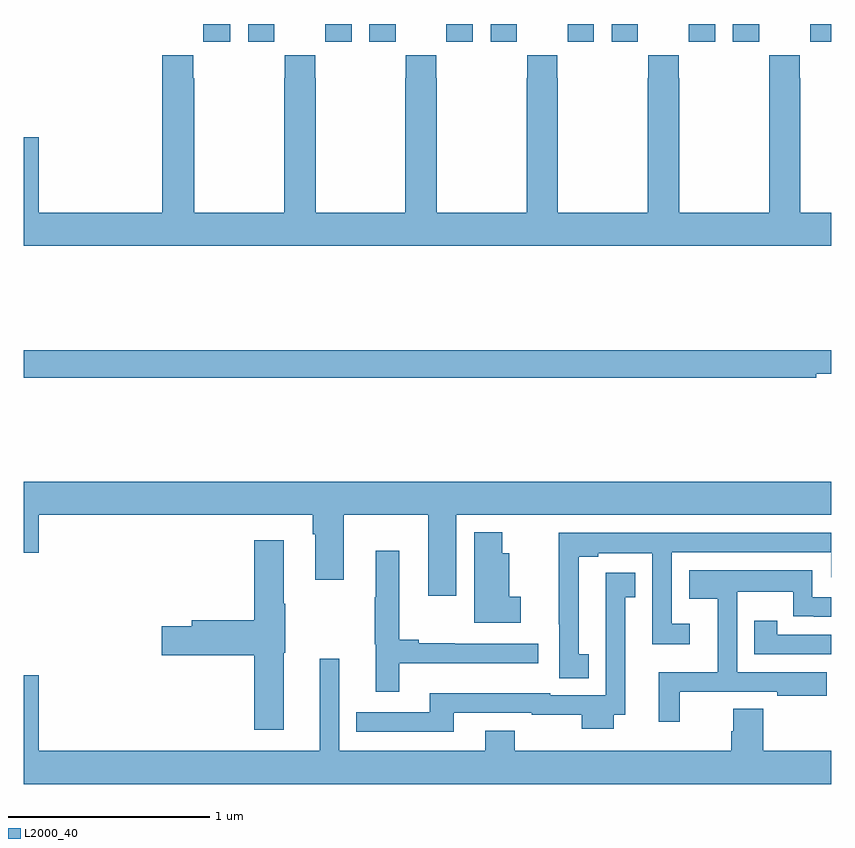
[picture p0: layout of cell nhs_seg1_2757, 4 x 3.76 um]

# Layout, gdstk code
import gdstk
lib = gdstk.Library(unit=1e-6, precision=1e-09)
def R(c, l, rs):  # rectangles x0, y0, x1, y1
    for r in rs: c.add(gdstk.rectangle(r[:2], r[2:], *l))
def P(c, l, *ps):  # polygons
    for p in ps: c.add(gdstk.Polygon(p, *l))
L2000_40 = (2000, 40)

nhs_seg1_2757 = lib.new_cell('nhs_seg1_2757')
R(nhs_seg1_2757, L2000_40, [(261.89,518.112,262.024,518.199), (262.112,518.112,262.242,518.199), (262.494,518.112,262.624,518.199), (262.712,518.112,262.842,518.199), (263.094,518.112,263.224,518.199), (263.312,518.112,263.442,518.199), (263.694,518.112,263.824,518.199), (263.912,518.112,264.042,518.199), (264.294,518.112,264.424,518.199), (264.512,518.112,264.642,518.199), (264.894,518.112,265,518.199)])
P(nhs_seg1_2757, L2000_40, [(265,517.264),(264.846,517.264),(264.846,517.931),(264.843,517.931),(264.843,518.044),(264.693,518.044),(264.693,517.931),(264.691,517.931),(264.691,517.264),(264.246,517.264),(264.246,517.931),(264.243,517.931),(264.243,518.044),(264.093,518.044),(264.093,517.931),(264.091,517.931),(264.091,517.264),(263.646,517.264),(263.646,517.931),(263.643,517.931),(263.643,518.044),(263.493,518.044),(263.493,517.931),(263.491,517.931),(263.491,517.264),(263.046,517.264),(263.046,517.931),(263.043,517.931),(263.043,518.044),(262.893,518.044),(262.893,517.931),(262.891,517.931),(262.891,517.264),(262.446,517.264),(262.446,517.931),(262.443,517.931),(262.443,518.044),(262.293,518.044),(262.293,517.931),(262.291,517.931),(262.291,517.264),(261.846,517.264),(261.846,517.931),(261.839,517.931),(261.839,518.044),(261.686,518.044),(261.686,517.264),(261.076,517.264),(261.076,517.639),(261,517.639),(261,517.1),(265,517.1)],
  [(264.926,516.468),(265,516.468),(265,516.584),(261,516.584),(261,516.448),(264.926,516.448)],
  [(263.143,515.768),(265,515.768),(265,515.932),(261,515.932),(261,515.58),(261.076,515.58),(261.076,515.768),(262.433,515.768),(262.433,515.672),(262.445,515.672),(262.445,515.448),(262.585,515.448),(262.585,515.768),(263.003,515.768),(263.003,515.367),(263.143,515.367)],
  [(263.461,515.364),(263.404,515.364),(263.404,515.578),(263.371,515.578),(263.371,515.683),(263.231,515.683),(263.231,515.234),(263.461,515.234)],
  [(263.798,515.079),(263.749,515.079),(263.749,515.562),(263.845,515.562),(263.845,515.579),(264.114,515.579),(264.114,515.129),(264.298,515.129),(264.298,515.23),(264.21,515.23),(264.21,515.583),(264.999,515.583),(264.999,515.46),(265,515.46),(265,515.679),(264.107,515.679),(264.107,515.68),(263.65,515.68),(263.65,515.227),(263.652,515.227),(263.652,514.96),(263.798,514.96)],
  [(262.288,515.085),(262.296,515.085),(262.296,515.329),(262.288,515.329),(262.288,515.644),(262.142,515.644),(262.142,515.246),(261.833,515.246),(261.833,515.216),(261.684,515.216),(261.684,515.074),(262.142,515.074),(262.142,514.704),(262.288,514.704)],
  [(262.861,515.033),(263.548,515.033),(263.548,515.13),(263.135,515.13),(263.135,515.133),(262.957,515.133),(262.957,515.15),(262.861,515.15),(262.861,515.59),(262.745,515.59),(262.745,515.36),(262.738,515.36),(262.738,515.127),(262.745,515.127),(262.745,514.893),(262.861,514.893)],
  [(264.248,514.893),(264.731,514.893),(264.731,514.874),(264.976,514.874),(264.976,514.989),(264.534,514.989),(264.534,515.387),(264.81,515.387),(264.81,515.266),(264.913,515.266),(264.913,515.265),(265,515.265),(265,515.361),(264.906,515.361),(264.906,515.494),(264.295,515.494),(264.295,515.354),(264.437,515.354),(264.437,514.99),(264.146,514.99),(264.146,514.743),(264.248,514.743)],
  [(263.131,514.788),(263.517,514.788),(263.517,514.778),(263.764,514.778),(263.764,514.709),(263.923,514.709),(263.923,514.779),(263.98,514.779),(263.98,515.361),(264.029,515.361),(264.029,515.482),(263.882,515.482),(263.882,515.158),(263.883,515.158),(263.883,514.875),(263.607,514.875),(263.607,514.885),(263.012,514.885),(263.012,514.791),(262.648,514.791),(262.648,514.695),(263.131,514.695)],
  [(265,515.175),(264.732,515.175),(264.732,515.245),(264.619,515.245),(264.619,515.079),(265,515.079)],
  [(265,514.6),(264.663,514.6),(264.663,514.808),(264.515,514.808),(264.515,514.698),(264.503,514.698),(264.503,514.6),(263.433,514.6),(263.433,514.699),(263.285,514.699),(263.285,514.6),(262.563,514.6),(262.563,515.056),(262.466,515.056),(262.466,514.6),(261.076,514.6),(261.076,514.975),(261,514.975),(261,514.436),(265,514.436)])

lib.write_gds('nhs_seg1_2757.gds')
